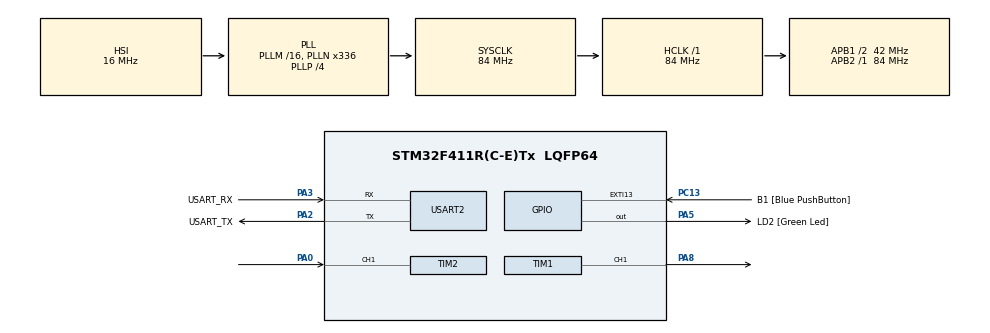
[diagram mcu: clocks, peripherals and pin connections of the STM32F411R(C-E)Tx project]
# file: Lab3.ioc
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Dma.Request0=TIM2_CH1
Dma.TIM2_CH1.0.Direction=DMA_PERIPH_TO_MEMORY
Dma.TIM2_CH1.0.FIFOMode=DMA_FIFOMODE_DISABLE
Dma.TIM2_CH1.0.Instance=DMA1_Stream5
Dma.TIM2_CH1.0.MemDataAlignment=DMA_MDATAALIGN_WORD
Dma.TIM2_CH1.0.MemInc=DMA_MINC_ENABLE
Dma.TIM2_CH1.0.Mode=DMA_CIRCULAR
Dma.TIM2_CH1.0.PeriphDataAlignment=DMA_PDATAALIGN_WORD
Dma.TIM2_CH1.0.PeriphInc=DMA_PINC_DISABLE
Dma.TIM2_CH1.0.Priority=DMA_PRIORITY_LOW
Mcu.Family=STM32F4
Mcu.Name=STM32F411R(C-E)Tx
Mcu.Package=LQFP64
NVIC.DMA1_Stream5_IRQn=true\:0\:0\:false\:false\:true\:false\:true\:true
NVIC.PriorityGroup=NVIC_PRIORITYGROUP_0
PA0-WKUP.Signal=S_TIM2_CH1_ETR
PA13.GPIO_Label=TMS
PA13.Mode=Serial_Wire
PA13.Signal=SYS_JTMS-SWDIO
PA14.GPIO_Label=TCK
PA14.Mode=Serial_Wire
PA14.Signal=SYS_JTCK-SWCLK
PA2.GPIO_Label=USART_TX
PA2.Mode=Asynchronous
PA2.Signal=USART2_TX
PA3.GPIO_Label=USART_RX
PA3.Mode=Asynchronous
PA3.Signal=USART2_RX
PA5.GPIO_Label=LD2 [Green Led]
PA5.Signal=GPIO_Output
PA8.Signal=S_TIM1_CH1
PB3.GPIO_Label=SWO
PB3.Signal=SYS_JTDO-SWO
PC13-ANTI_TAMP.GPIO_Label=B1 [Blue PushButton]
PC13-ANTI_TAMP.GPIO_ModeDefaultEXTI=GPIO_MODE_IT_FALLING
PC13-ANTI_TAMP.Signal=GPXTI13
PC14-OSC32_IN.Mode=LSE-External-Oscillator
PC14-OSC32_IN.Signal=RCC_OSC32_IN
PC15-OSC32_OUT.Mode=LSE-External-Oscillator
PC15-OSC32_OUT.Signal=RCC_OSC32_OUT
PH0\ -\ OSC_IN.Mode=HSE-External-Clock-Source
PH0\ -\ OSC_IN.Signal=RCC_OSC_IN
PH1\ -\ OSC_OUT.Mode=HSE-External-Clock-Source
PH1\ -\ OSC_OUT.Signal=RCC_OSC_OUT
ProjectManager.HeapSize=0x200
ProjectManager.StackSize=0x400
ProjectManager.TargetToolchain=STM32CubeIDE
RCC.48MHZClocksFreq_Value=84000000
RCC.AHBFreq_Value=84000000
RCC.APB1CLKDivider=RCC_HCLK_DIV2
RCC.APB1Freq_Value=42000000
RCC.APB1TimFreq_Value=84000000
RCC.APB2Freq_Value=84000000
RCC.APB2TimFreq_Value=84000000
RCC.CortexFreq_Value=84000000
RCC.FLatency-AdvancedSettings=FLASH_LATENCY_2
RCC.HCLKFreq_Value=84000000
RCC.HSE_VALUE=8000000
RCC.HSI_VALUE=16000000
RCC.PLLN=336
RCC.PLLP=RCC_PLLP_DIV4
RCC.SYSCLKFreq_VALUE=84000000
RCC.SYSCLKSource=RCC_SYSCLKSOURCE_PLLCLK
RCC.VCOOutputFreq_Value=336000000
SH.S_TIM1_CH1.0=TIM1_CH1,PWM Generation1 CH1
SH.S_TIM2_CH1_ETR.0=TIM2_CH1,Input_Capture1_from_TI1
TIM1.Channel-PWM\ Generation1\ CH1=TIM_CHANNEL_1
TIM1.Period=99
TIM1.Prescaler=83
TIM1.Pulse-PWM\ Generation1\ CH1=100
TIM2.Channel-Input_Capture1_from_TI1=TIM_CHANNEL_1
TIM2.Prescaler=83
USART2.VirtualMode=VM_ASYNC
VP_TIM1_VS_ClockSourceINT.Mode=Internal
VP_TIM2_VS_ClockSourceINT.Mode=Internal
board=NUCLEO-F411RE

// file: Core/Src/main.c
/* USER CODE BEGIN Header */
/**
  ******************************************************************************
  * @file           : main.c
  * @brief          : Main program body
  ******************************************************************************
  * @attention
  *
  * Copyright (c) 2023 STMicroelectronics.
  * All rights reserved.
  *
  * This software is licensed under terms that can be found in the LICENSE file
  * in the root directory of this software component.
  * If no LICENSE file comes with this software, it is provided AS-IS.
  *
  ******************************************************************************
  */
/* USER CODE END Header */
#include "main.h"

/* USER CODE BEGIN Includes */

#define IC_BUFFER_SIZE 20

/* USER CODE END Includes */

TIM_HandleTypeDef htim1;
TIM_HandleTypeDef htim2;
DMA_HandleTypeDef hdma_tim2_ch1;

UART_HandleTypeDef huart2;

/* USER CODE BEGIN PV */
uint8_t MotorControlEnable = 0;

uint32_t InputCaptureBuffer[IC_BUFFER_SIZE];
float averageRisingedgePeriod;

// set duty 100%  // 1% = ( set duty =1)
float MotorSetDuty = 100;

float MotorReadRPM;
float MotorSetRPM;

/* USER CODE END PV */

void SystemClock_Config(void);
static void MX_GPIO_Init(void);
static void MX_DMA_Init(void);
static void MX_USART2_UART_Init(void);
static void MX_TIM2_Init(void);
static void MX_TIM1_Init(void);
/* USER CODE BEGIN PFP */

/////////////////////////////////////////////////////////////////  Ex.1-2 start
float IC_Calc_Period();
/////////////////////////////////////////////////////////////////  Ex.1-2 end

/* USER CODE END PFP */

int main(void)
{

  /* MCU Configuration--------------------------------------------------------*/

  /* Reset of all peripherals, Initializes the Flash interface and the Systick. */
  HAL_Init();

  /* Configure the system clock */
  SystemClock_Config();

  /* Initialize all configured peripherals */
  MX_GPIO_Init();
  MX_DMA_Init();
  MX_USART2_UART_Init();
  MX_TIM2_Init();
  MX_TIM1_Init();
  /* USER CODE BEGIN 2 */

  // read length 1 rising edge encoder
  HAL_TIM_Base_Start(&htim2);
  HAL_TIM_IC_Start_DMA(&htim2, TIM_CHANNEL_1, InputCaptureBuffer, IC_BUFFER_SIZE);

  //
  HAL_TIM_Base_Start(&htim1);
  HAL_TIM_PWM_Start(&htim1, TIM_CHANNEL_1);

  /* USER CODE END 2 */

  /* Infinite loop */
  while (1)
  {

    /* USER CODE BEGIN 3 */
  /////////////////////////////////////////////////////////////////  Ex.1 start
	  static uint32_t timestamp = 0;
	  if (HAL_GetTick() >= timestamp)
	  {
		  timestamp = HAL_GetTick() + 500;

/////////////////////////////////////////////////////////////////  Ex.1 end, 2 start
		  // generate PWN
		  //__HAL_TIM_SET_COMPARE(&htim1,TIM_CHANNEL_1,MotorSetDuty);
		  averageRisingedgePeriod = IC_Calc_Period();
		  MotorReadRPM = 60 / ( 64 * 12 * averageRisingedgePeriod * 0.000001);

		  if (MotorControlEnable == 1)
		  {

			  if (MotorSetRPM == 0)
			  {
				  averageRisingedgePeriod = 0;
				  MotorReadRPM = 0 ;
				  MotorSetDuty = 0 ;

			  }

//			  else if (MotorSetDuty < 0)
//			  {
//				  MotorSetDuty = 0;
//			  }
//
//			  else if (MotorSetDuty > 100)
//			  {
//				  MotorSetDuty = 100;
//			  }

			  else if (MotorReadRPM > MotorSetRPM )
			  {
				  if (MotorSetDuty < 0)
				  {
					  MotorSetDuty = 0;
				  }

				  else if (MotorSetDuty > 0)
				  {
					  MotorSetDuty -= 1;
				  }

			  }

			  else if (MotorReadRPM < MotorSetRPM )
			  {

				  if (MotorSetDuty > 100)
				  {
					  MotorSetDuty = 100;
				  }

				  else if (MotorSetDuty < 100)
				  {
					  MotorSetDuty += 1;
				  }
			  }

		  }

		  else if (MotorControlEnable == 0)
		  {

			  if (MotorSetDuty > 100)
			  {
				  MotorSetDuty = 100;
			  }

			  else if (MotorSetDuty < 0)
			  {
				  MotorSetDuty = 0;
			  }

			  else if (MotorSetDuty == 0)
			  {
				  MotorReadRPM = 0;
				  averageRisingedgePeriod = 0;
			  }

		  }

		  __HAL_TIM_SET_COMPARE(&htim1,TIM_CHANNEL_1,MotorSetDuty);

	  }

  }
  /* USER CODE END 3 */
}

void SystemClock_Config(void)
{
  RCC_OscInitTypeDef RCC_OscInitStruct = {0};
  RCC_ClkInitTypeDef RCC_ClkInitStruct = {0};

  /** Configure the main internal regulator output voltage
  */
  __HAL_RCC_PWR_CLK_ENABLE();
  __HAL_PWR_VOLTAGESCALING_CONFIG(PWR_REGULATOR_VOLTAGE_SCALE1);

  /** Initializes the RCC Oscillators according to the specified parameters
  * in the RCC_OscInitTypeDef structure.
  */
  RCC_OscInitStruct.OscillatorType = RCC_OSCILLATORTYPE_HSI;
  RCC_OscInitStruct.HSIState = RCC_HSI_ON;
  RCC_OscInitStruct.HSICalibrationValue = RCC_HSICALIBRATION_DEFAULT;
  RCC_OscInitStruct.PLL.PLLState = RCC_PLL_ON;
  RCC_OscInitStruct.PLL.PLLSource = RCC_PLLSOURCE_HSI;
  RCC_OscInitStruct.PLL.PLLM = 16;
  RCC_OscInitStruct.PLL.PLLN = 336;
  RCC_OscInitStruct.PLL.PLLP = RCC_PLLP_DIV4;
  RCC_OscInitStruct.PLL.PLLQ = 4;
  if (HAL_RCC_OscConfig(&RCC_OscInitStruct) != HAL_OK)
  {
    Error_Handler();
  }

  /** Initializes the CPU, AHB and APB buses clocks
  */
  RCC_ClkInitStruct.ClockType = RCC_CLOCKTYPE_HCLK|RCC_CLOCKTYPE_SYSCLK
                              |RCC_CLOCKTYPE_PCLK1|RCC_CLOCKTYPE_PCLK2;
  RCC_ClkInitStruct.SYSCLKSource = RCC_SYSCLKSOURCE_PLLCLK;
  RCC_ClkInitStruct.AHBCLKDivider = RCC_SYSCLK_DIV1;
  RCC_ClkInitStruct.APB1CLKDivider = RCC_HCLK_DIV2;
  RCC_ClkInitStruct.APB2CLKDivider = RCC_HCLK_DIV1;

  if (HAL_RCC_ClockConfig(&RCC_ClkInitStruct, FLASH_LATENCY_2) != HAL_OK)
  {
    Error_Handler();
  }
}

static void MX_TIM1_Init(void)
{

  TIM_ClockConfigTypeDef sClockSourceConfig = {0};
  TIM_MasterConfigTypeDef sMasterConfig = {0};
  TIM_OC_InitTypeDef sConfigOC = {0};
  TIM_BreakDeadTimeConfigTypeDef sBreakDeadTimeConfig = {0};

  htim1.Instance = TIM1;
  htim1.Init.Prescaler = 83;
  htim1.Init.CounterMode = TIM_COUNTERMODE_UP;
  htim1.Init.Period = 99;
  htim1.Init.ClockDivision = TIM_CLOCKDIVISION_DIV1;
  htim1.Init.RepetitionCounter = 0;
  htim1.Init.AutoReloadPreload = TIM_AUTORELOAD_PRELOAD_DISABLE;
  if (HAL_TIM_Base_Init(&htim1) != HAL_OK)
  {
    Error_Handler();
  }
  sClockSourceConfig.ClockSource = TIM_CLOCKSOURCE_INTERNAL;
  if (HAL_TIM_ConfigClockSource(&htim1, &sClockSourceConfig) != HAL_OK)
  {
    Error_Handler();
  }
  if (HAL_TIM_PWM_Init(&htim1) != HAL_OK)
  {
    Error_Handler();
  }
  sMasterConfig.MasterOutputTrigger = TIM_TRGO_RESET;
  sMasterConfig.MasterSlaveMode = TIM_MASTERSLAVEMODE_DISABLE;
  if (HAL_TIMEx_MasterConfigSynchronization(&htim1, &sMasterConfig) != HAL_OK)
  {
    Error_Handler();
  }
  sConfigOC.OCMode = TIM_OCMODE_PWM1;
  sConfigOC.Pulse = 100;
  sConfigOC.OCPolarity = TIM_OCPOLARITY_HIGH;
  sConfigOC.OCNPolarity = TIM_OCNPOLARITY_HIGH;
  sConfigOC.OCFastMode = TIM_OCFAST_DISABLE;
  sConfigOC.OCIdleState = TIM_OCIDLESTATE_RESET;
  sConfigOC.OCNIdleState = TIM_OCNIDLESTATE_RESET;
  if (HAL_TIM_PWM_ConfigChannel(&htim1, &sConfigOC, TIM_CHANNEL_1) != HAL_OK)
  {
    Error_Handler();
  }
  sBreakDeadTimeConfig.OffStateRunMode = TIM_OSSR_DISABLE;
  sBreakDeadTimeConfig.OffStateIDLEMode = TIM_OSSI_DISABLE;
  sBreakDeadTimeConfig.LockLevel = TIM_LOCKLEVEL_OFF;
  sBreakDeadTimeConfig.DeadTime = 0;
  sBreakDeadTimeConfig.BreakState = TIM_BREAK_DISABLE;
  sBreakDeadTimeConfig.BreakPolarity = TIM_BREAKPOLARITY_HIGH;
  sBreakDeadTimeConfig.AutomaticOutput = TIM_AUTOMATICOUTPUT_DISABLE;
  if (HAL_TIMEx_ConfigBreakDeadTime(&htim1, &sBreakDeadTimeConfig) != HAL_OK)
  {
    Error_Handler();
  }
  HAL_TIM_MspPostInit(&htim1);

}

static void MX_TIM2_Init(void)
{

  TIM_ClockConfigTypeDef sClockSourceConfig = {0};
  TIM_MasterConfigTypeDef sMasterConfig = {0};
  TIM_IC_InitTypeDef sConfigIC = {0};

  htim2.Instance = TIM2;
  htim2.Init.Prescaler = 83;
  htim2.Init.CounterMode = TIM_COUNTERMODE_UP;
  htim2.Init.Period = 4294967295;
  htim2.Init.ClockDivision = TIM_CLOCKDIVISION_DIV1;
  htim2.Init.AutoReloadPreload = TIM_AUTORELOAD_PRELOAD_DISABLE;
  if (HAL_TIM_Base_Init(&htim2) != HAL_OK)
  {
    Error_Handler();
  }
  sClockSourceConfig.ClockSource = TIM_CLOCKSOURCE_INTERNAL;
  if (HAL_TIM_ConfigClockSource(&htim2, &sClockSourceConfig) != HAL_OK)
  {
    Error_Handler();
  }
  if (HAL_TIM_IC_Init(&htim2) != HAL_OK)
  {
    Error_Handler();
  }
  sMasterConfig.MasterOutputTrigger = TIM_TRGO_RESET;
  sMasterConfig.MasterSlaveMode = TIM_MASTERSLAVEMODE_DISABLE;
  if (HAL_TIMEx_MasterConfigSynchronization(&htim2, &sMasterConfig) != HAL_OK)
  {
    Error_Handler();
  }
  sConfigIC.ICPolarity = TIM_INPUTCHANNELPOLARITY_RISING;
  sConfigIC.ICSelection = TIM_ICSELECTION_DIRECTTI;
  sConfigIC.ICPrescaler = TIM_ICPSC_DIV1;
  sConfigIC.ICFilter = 0;
  if (HAL_TIM_IC_ConfigChannel(&htim2, &sConfigIC, TIM_CHANNEL_1) != HAL_OK)
  {
    Error_Handler();
  }

}

static void MX_USART2_UART_Init(void)
{

  huart2.Instance = USART2;
  huart2.Init.BaudRate = 115200;
  huart2.Init.WordLength = UART_WORDLENGTH_8B;
  huart2.Init.StopBits = UART_STOPBITS_1;
  huart2.Init.Parity = UART_PARITY_NONE;
  huart2.Init.Mode = UART_MODE_TX_RX;
  huart2.Init.HwFlowCtl = UART_HWCONTROL_NONE;
  huart2.Init.OverSampling = UART_OVERSAMPLING_16;
  if (HAL_UART_Init(&huart2) != HAL_OK)
  {
    Error_Handler();
  }

}

static void MX_DMA_Init(void)
{

  /* DMA controller clock enable */
  __HAL_RCC_DMA1_CLK_ENABLE();

  /* DMA interrupt init */
  /* DMA1_Stream5_IRQn interrupt configuration */
  HAL_NVIC_SetPriority(DMA1_Stream5_IRQn, 0, 0);
  HAL_NVIC_EnableIRQ(DMA1_Stream5_IRQn);

}

static void MX_GPIO_Init(void)
{
  GPIO_InitTypeDef GPIO_InitStruct = {0};

  /* GPIO Ports Clock Enable */
  __HAL_RCC_GPIOC_CLK_ENABLE();
  __HAL_RCC_GPIOH_CLK_ENABLE();
  __HAL_RCC_GPIOA_CLK_ENABLE();
  __HAL_RCC_GPIOB_CLK_ENABLE();

  /*Configure GPIO pin Output Level */
  HAL_GPIO_WritePin(LD2_GPIO_Port, LD2_Pin, GPIO_PIN_RESET);

  /*Configure GPIO pin : B1_Pin */
  GPIO_InitStruct.Pin = B1_Pin;
  GPIO_InitStruct.Mode = GPIO_MODE_IT_FALLING;
  GPIO_InitStruct.Pull = GPIO_NOPULL;
  HAL_GPIO_Init(B1_GPIO_Port, &GPIO_InitStruct);

  /*Configure GPIO pin : LD2_Pin */
  GPIO_InitStruct.Pin = LD2_Pin;
  GPIO_InitStruct.Mode = GPIO_MODE_OUTPUT_PP;
  GPIO_InitStruct.Pull = GPIO_NOPULL;
  GPIO_InitStruct.Speed = GPIO_SPEED_FREQ_LOW;
  HAL_GPIO_Init(LD2_GPIO_Port, &GPIO_InitStruct);

}

/* USER CODE BEGIN 4 */

/////////////////////////////////////////////////////////////////  Ex.1-2 start
float IC_Calc_Period()
{
	uint32_t currentDMAPointer = IC_BUFFER_SIZE - __HAL_DMA_GET_COUNTER((htim2.hdma[1]));

	uint32_t lastValidDMAPointer = (currentDMAPointer-1 + IC_BUFFER_SIZE) % IC_BUFFER_SIZE;

	uint32_t i = (lastValidDMAPointer + IC_BUFFER_SIZE - 5) % IC_BUFFER_SIZE;

	int32_t sumdiff = 0;
	while (i != lastValidDMAPointer)
	{
		uint32_t firstCapture = InputCaptureBuffer[i];

		uint32_t NextCapture = InputCaptureBuffer[(i+1) % IC_BUFFER_SIZE];
		sumdiff += NextCapture - firstCapture;
		i = (i+1) % IC_BUFFER_SIZE;
	}
	return sumdiff / 5.0;
/////////////////////////////////////////////////////////////////  Ex.1-2 end

}
/* USER CODE END 4 */

void Error_Handler(void)
{
  __disable_irq();
  while (1)
  {
  }
}
